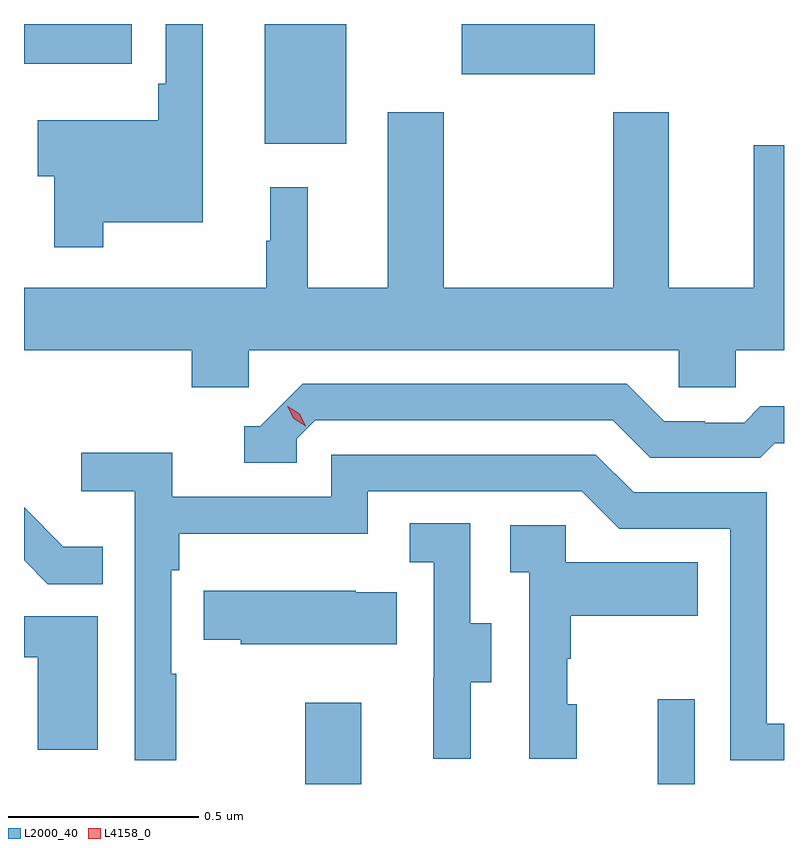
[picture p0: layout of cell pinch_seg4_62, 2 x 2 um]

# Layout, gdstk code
import gdstk
lib = gdstk.Library(unit=1e-6, precision=1e-09)
def R(c, l, rs):  # rectangles x0, y0, x1, y1
    for r in rs: c.add(gdstk.rectangle(r[:2], r[2:], *l))
def P(c, l, *ps):  # polygons
    for p in ps: c.add(gdstk.Polygon(p, *l))
L2000_40 = (2000, 40)
L4158_0 = (4158, 0)

pinch_seg4_62 = lib.new_cell('pinch_seg4_62')
R(pinch_seg4_62, L2000_40, [(1026.964,822.318,1027.111,822.532), (1027.892,822.318,1027.989,822.541), (1026.857,824.003,1027.072,824.318), (1027.376,824.186,1027.726,824.318), (1026.224,824.213,1026.508,824.318)])
P(pinch_seg4_62, L2000_40, [(1026.433,823.796),(1026.694,823.796),(1026.694,824.318),(1026.597,824.318),(1026.597,824.161),(1026.577,824.161),(1026.577,824.065),(1026.26,824.065),(1026.26,823.918),(1026.304,823.918),(1026.304,823.731),(1026.433,823.731)],
  [(1026.816,823.46),(1027.947,823.46),(1027.947,823.362),(1028.097,823.362),(1028.097,823.46),(1028.224,823.46),(1028.224,823.999),(1028.144,823.999),(1028.144,823.624),(1027.921,823.624),(1027.921,824.086),(1027.774,824.086),(1027.774,823.624),(1027.329,823.624),(1027.329,824.086),(1027.181,824.086),(1027.181,823.624),(1026.971,823.624),(1026.971,823.888),(1026.872,823.888),(1026.872,823.748),(1026.861,823.748),(1026.861,823.624),(1026.224,823.624),(1026.224,823.46),(1026.665,823.46),(1026.665,823.362),(1026.816,823.362)],
  [(1026.942,823.227),(1026.99,823.275),(1027.773,823.275),(1027.872,823.176),(1028.161,823.176),(1028.2,823.215),(1028.224,823.215),(1028.224,823.312),(1028.161,823.312),(1028.119,823.269),(1028.016,823.269),(1028.016,823.272),(1027.909,823.272),(1027.81,823.371),(1026.957,823.371),(1026.846,823.26),(1026.803,823.26),(1026.803,823.164),(1026.942,823.164)],
  [(1026.625,822.608),(1026.612,822.608),(1026.612,822.881),(1026.632,822.881),(1026.632,822.977),(1027.128,822.977),(1027.128,823.089),(1027.692,823.089),(1027.791,822.99),(1028.082,822.99),(1028.082,822.381),(1028.224,822.381),(1028.224,822.477),(1028.178,822.477),(1028.178,823.086),(1027.828,823.086),(1027.729,823.185),(1027.032,823.185),(1027.032,823.074),(1026.614,823.074),(1026.614,823.19),(1026.375,823.19),(1026.375,823.088),(1026.516,823.088),(1026.516,822.381),(1026.625,822.381)],
  [(1026.431,822.943),(1026.327,822.943),(1026.224,823.046),(1026.224,822.907),(1026.287,822.844),(1026.431,822.844)],
  [(1027.399,822.586),(1027.453,822.586),(1027.453,822.741),(1027.398,822.741),(1027.398,823.004),(1027.239,823.004),(1027.239,822.901),(1027.302,822.901),(1027.302,822.597),(1027.301,822.597),(1027.301,822.384),(1027.399,822.384)],
  [(1027.678,822.528),(1027.653,822.528),(1027.653,822.647),(1027.663,822.647),(1027.663,822.761),(1027.997,822.761),(1027.997,822.901),(1027.65,822.901),(1027.65,822.999),(1027.503,822.999),(1027.503,822.875),(1027.554,822.875),(1027.554,822.384),(1027.678,822.384)],
  [(1027.205,822.823),(1027.097,822.823),(1027.097,822.826),(1026.697,822.826),(1026.697,822.697),(1026.795,822.697),(1026.795,822.686),(1027.205,822.686)],
  [(1026.418,822.759),(1026.224,822.759),(1026.224,822.651),(1026.26,822.651),(1026.26,822.408),(1026.418,822.408)])
P(pinch_seg4_62, L4158_0, [(1026.965,823.26),(1026.934,823.279),(1026.917,823.312),(1026.917,823.312),(1026.918,823.312),(1026.949,823.293),(1026.965,823.26),(1026.965,823.26)])

lib.write_gds('pinch_seg4_62.gds')
